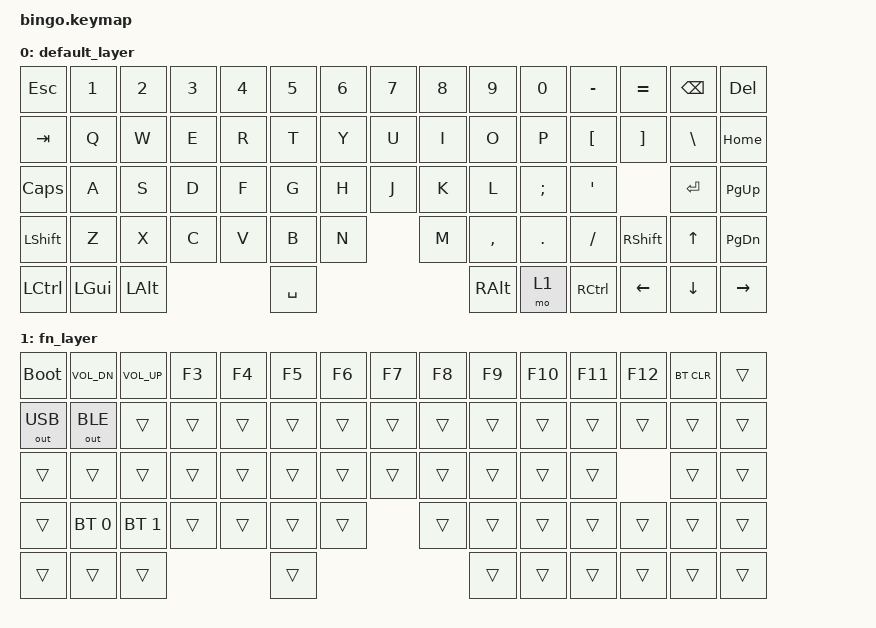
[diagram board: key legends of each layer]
#include <behaviors.dtsi>
#include <dt-bindings/zmk/keys.h>
#include <dt-bindings/zmk/bt.h>
#include <dt-bindings/zmk/outputs.h>
#include <dt-bindings/zmk/rgb.h>

/ {
    // 🎮 SNAPTAP (SOCD) MACROS FOR A AND D
    macros {
        socd_a: socd_a {
            compatible = "zmk,behavior-macro";
            #binding-cells = <0>;
            wait-ms = <0>;
            tap-ms = <0>;
            bindings
                = <&macro_release &kp D>
                , <&macro_press &kp A>
                , <&macro_pause_for_release>
                , <&macro_release &kp A>
                ;
        };
        socd_d: socd_d {
            compatible = "zmk,behavior-macro";
            #binding-cells = <0>;
            wait-ms = <0>;
            tap-ms = <0>;
            bindings
                = <&macro_release &kp A>
                , <&macro_press &kp D>
                , <&macro_pause_for_release>
                , <&macro_release &kp D>
                ;
        };
    };

    // ⌨️ THE KEY ASSIGNMENTS
    keymap {
        compatible = "zmk,keymap";

        default_layer {
            bindings = <
                &kp ESC   &kp N1   &kp N2   &kp N3   &kp N4   &kp N5   &kp N6   &kp N7   &kp N8   &kp N9   &kp N0   &kp MINUS &kp EQUAL &kp BSPC &kp DEL
                &kp TAB   &kp Q    &kp W    &kp E    &kp R    &kp T    &kp Y    &kp U    &kp I    &kp O    &kp P    &kp LBKT  &kp RBKT  &kp BSLH &kp HOME
                &kp CLCK  &kp A    &kp S    &kp D    &kp F    &kp G    &kp H    &kp J    &kp K    &kp L    &kp SEMI &kp SQT             &kp RET  &kp PG_UP
                &kp LSHFT          &kp Z    &kp X    &kp C    &kp V    &kp B    &kp N    &kp M    &kp COMMA &kp DOT &kp FSLH  &kp RSHFT &kp UP   &kp PG_DN
                &kp LCTRL &kp LGUI &kp LALT                   &kp SPACE                           &kp RALT &mo 1    &kp RCTRL &kp LEFT  &kp DOWN &kp RIGHT
            >;
        };

        fn_layer {
            bindings = <
                &bootloader  &kp C_VOL_DN &kp C_VOL_UP &kp F3       &kp F4       &kp F5       &kp F6       &kp F7       &kp F8       &kp F9       &kp F10      &kp F11      &kp F12      &bt BT_CLR   &trans
                &out OUT_USB &out OUT_BLE &trans       &trans       &trans       &trans       &trans       &trans       &trans       &trans       &trans       &trans       &trans       &trans       &trans
                &trans       &trans       &trans       &trans       &trans       &trans       &trans       &trans       &trans       &trans       &trans       &trans                    &trans       &trans
                &trans                    &bt BT_SEL 0 &bt BT_SEL 1 &trans       &trans       &trans       &trans       &trans       &trans       &trans       &trans       &trans       &trans       &trans
                &trans       &trans       &trans                                 &trans                                              &trans       &trans       &trans       &trans       &trans       &trans
            >;
        };
    };
};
